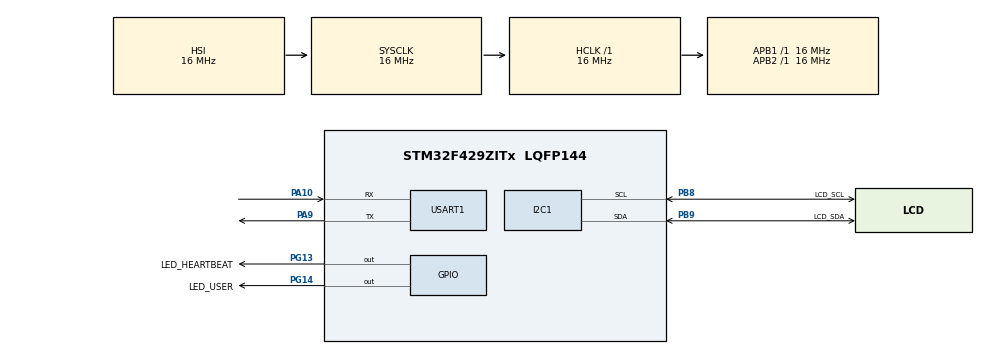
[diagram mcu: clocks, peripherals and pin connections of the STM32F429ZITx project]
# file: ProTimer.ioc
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Mcu.Family=STM32F4
Mcu.Name=STM32F429ZITx
Mcu.Package=LQFP144
NVIC.PriorityGroup=NVIC_PRIORITYGROUP_4
PA10.Mode=Asynchronous
PA10.Signal=USART1_RX
PA9.Mode=Asynchronous
PA9.Signal=USART1_TX
PB8.GPIO_Label=LCD_SCL
PB8.Mode=I2C
PB8.Signal=I2C1_SCL
PB9.GPIO_Label=LCD_SDA
PB9.Mode=I2C
PB9.Signal=I2C1_SDA
PG13.GPIO_Label=LED_HEARTBEAT
PG13.Signal=GPIO_Output
PG14.GPIO_Label=LED_USER
PG14.Signal=GPIO_Output
ProjectManager.HeapSize=0x200
ProjectManager.StackSize=0x400
ProjectManager.TargetToolchain=STM32CubeIDE
RCC.AHBFreq_Value=16000000
RCC.APB1Freq_Value=16000000
RCC.APB2Freq_Value=16000000
RCC.CortexFreq_Value=16000000
RCC.HSE_VALUE=25000000
RCC.HSI_VALUE=16000000
RCC.LSE_VALUE=32768
RCC.SYSCLKFreq_VALUE=16000000
RCC.VCOOutputFreq_Value=192000000
USART1.VirtualMode=VM_ASYNC
board=custom

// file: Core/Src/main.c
/* USER CODE BEGIN Header */
/**
  ******************************************************************************
  * @file           : main.c
  * @brief          : Main program body
  ******************************************************************************
  * @attention
  *
  * Copyright (c) 2025 STMicroelectronics.
  * All rights reserved.
  *
  * This software is licensed under terms that can be found in the LICENSE file
  * in the root directory of this software component.
  * If no LICENSE file comes with this software, it is provided AS-IS.
  *
  ******************************************************************************
  */
/* USER CODE END Header */
#include "main.h"

/* USER CODE BEGIN Includes */
#include "display.h"
#include "button_simulation.h"
#include "protimer.h"
#include "alarm_simulation.h"

/* USER CODE END Includes */

I2C_HandleTypeDef hi2c1;

UART_HandleTypeDef huart1;

/* USER CODE BEGIN PV */
static protimer_t protimer;

/* USER CODE END PV */

void SystemClock_Config(void);
static void MX_GPIO_Init(void);
static void MX_USART1_UART_Init(void);
static void MX_I2C1_Init(void);

/* USER CODE BEGIN 0 */

/**
 * @brief Retarget printf to UART1
*/
int _write(int file, char *ptr, int len) {
  HAL_UART_Transmit(&huart1, (uint8_t *) ptr, len, HAL_MAX_DELAY);
  return len;
}

/**
 * @brief User button event producer
 *
 * Polls the button interface and generates corresponding events for the
 * productivity timer state machine based on user button presses.
 *
 * @details Button to event mapping:
 *          - BUTTON_ID_PLUS       -> PROTIMER_SIGNAL_INC_TIME
 *          - BUTTON_ID_MINUS      -> PROTIMER_SIGNAL_DEC_TIME
 *          - BUTTON_ID_START_PAUSE -> PROTIMER_SIGNAL_START_PAUSE
 *          - BUTTON_ID_BOTH       -> PROTIMER_SIGNAL_ABORT
 *          - No button pressed    -> No event dispatched
 *
 * @note This function should be called periodically from the main loop
 */
static void user_event_producer(void) {
  button_id_t button_pressed = button_get_pressed();

  protimer_event_t user_event;

  if (button_pressed == BUTTON_ID_PLUS) {
    user_event.signal = PROTIMER_SIGNAL_INC_TIME;

  } else if (button_pressed == BUTTON_ID_MINUS) {
    user_event.signal = PROTIMER_SIGNAL_DEC_TIME;

  } else if (button_pressed == BUTTON_ID_START_PAUSE) {
    user_event.signal = PROTIMER_SIGNAL_START_PAUSE;

  } else if (button_pressed == BUTTON_ID_BOTH) {
    user_event.signal = PROTIMER_SIGNAL_ABORT;

  } else {
    return;
  }

  protimer_dispatcher(&protimer, &user_event);
}

/**
 * @brief Periodic time tick event producer
 *
 * Generates periodic TIME_TICK events every 100ms for the productivity timer
 * state machine. Uses HAL_GetTick() to track elapsed time and dispatch events
 * at regular intervals.
 *
 * @details The tick interval is 100ms, which provides the time base for:
 *          - Countdown updates
 *          - Idle state beep timing
 *          - Elapsed time tracking
 *
 * @note This function should be called continuously from the main loop
 * @note Uses static variables to maintain timing state between calls
 */
static void time_tick_event_producer(void) {
  static uint32_t current_tick = 100;
  static protimer_event_t tick_event = { .signal = PROTIMER_SIGNAL_TIME_TICK };

  if (HAL_GetTick() > current_tick) {
    current_tick = HAL_GetTick() + 100;
    protimer_dispatcher(&protimer, &tick_event);

  }
}

/* USER CODE END 0 */

int main(void)
{

  /* MCU Configuration--------------------------------------------------------*/

  /* Reset of all peripherals, Initializes the Flash interface and the Systick. */
  HAL_Init();

  /* Configure the system clock */
  SystemClock_Config();

  /* Initialize all configured peripherals */
  MX_GPIO_Init();
  MX_USART1_UART_Init();
  MX_I2C1_Init();
  /* USER CODE BEGIN 2 */
  display_init();
  protimer_init(&protimer);

  /* USER CODE END 2 */

  /* Infinite loop */
  /* USER CODE BEGIN WHILE */
  while (1)
  {
    alarm_task();
    user_event_producer();
    time_tick_event_producer();
    /* USER CODE END WHILE */

  }
}

void SystemClock_Config(void)
{
  RCC_OscInitTypeDef RCC_OscInitStruct = {0};
  RCC_ClkInitTypeDef RCC_ClkInitStruct = {0};

  /** Configure the main internal regulator output voltage
  */
  __HAL_RCC_PWR_CLK_ENABLE();
  __HAL_PWR_VOLTAGESCALING_CONFIG(PWR_REGULATOR_VOLTAGE_SCALE3);

  /** Initializes the RCC Oscillators according to the specified parameters
  * in the RCC_OscInitTypeDef structure.
  */
  RCC_OscInitStruct.OscillatorType = RCC_OSCILLATORTYPE_HSI;
  RCC_OscInitStruct.HSIState = RCC_HSI_ON;
  RCC_OscInitStruct.HSICalibrationValue = RCC_HSICALIBRATION_DEFAULT;
  RCC_OscInitStruct.PLL.PLLState = RCC_PLL_NONE;
  if (HAL_RCC_OscConfig(&RCC_OscInitStruct) != HAL_OK)
  {
    Error_Handler();
  }

  /** Initializes the CPU, AHB and APB buses clocks
  */
  RCC_ClkInitStruct.ClockType = RCC_CLOCKTYPE_HCLK|RCC_CLOCKTYPE_SYSCLK
                              |RCC_CLOCKTYPE_PCLK1|RCC_CLOCKTYPE_PCLK2;
  RCC_ClkInitStruct.SYSCLKSource = RCC_SYSCLKSOURCE_HSI;
  RCC_ClkInitStruct.AHBCLKDivider = RCC_SYSCLK_DIV1;
  RCC_ClkInitStruct.APB1CLKDivider = RCC_HCLK_DIV1;
  RCC_ClkInitStruct.APB2CLKDivider = RCC_HCLK_DIV1;

  if (HAL_RCC_ClockConfig(&RCC_ClkInitStruct, FLASH_LATENCY_0) != HAL_OK)
  {
    Error_Handler();
  }
}

static void MX_I2C1_Init(void)
{

  hi2c1.Instance = I2C1;
  hi2c1.Init.ClockSpeed = 100000;
  hi2c1.Init.DutyCycle = I2C_DUTYCYCLE_2;
  hi2c1.Init.OwnAddress1 = 0;
  hi2c1.Init.AddressingMode = I2C_ADDRESSINGMODE_7BIT;
  hi2c1.Init.DualAddressMode = I2C_DUALADDRESS_DISABLE;
  hi2c1.Init.OwnAddress2 = 0;
  hi2c1.Init.GeneralCallMode = I2C_GENERALCALL_DISABLE;
  hi2c1.Init.NoStretchMode = I2C_NOSTRETCH_DISABLE;
  if (HAL_I2C_Init(&hi2c1) != HAL_OK)
  {
    Error_Handler();
  }

  /** Configure Analogue filter
  */
  if (HAL_I2CEx_ConfigAnalogFilter(&hi2c1, I2C_ANALOGFILTER_ENABLE) != HAL_OK)
  {
    Error_Handler();
  }

  /** Configure Digital filter
  */
  if (HAL_I2CEx_ConfigDigitalFilter(&hi2c1, 0) != HAL_OK)
  {
    Error_Handler();
  }

}

static void MX_USART1_UART_Init(void)
{

  huart1.Instance = USART1;
  huart1.Init.BaudRate = 115200;
  huart1.Init.WordLength = UART_WORDLENGTH_8B;
  huart1.Init.StopBits = UART_STOPBITS_1;
  huart1.Init.Parity = UART_PARITY_NONE;
  huart1.Init.Mode = UART_MODE_TX_RX;
  huart1.Init.HwFlowCtl = UART_HWCONTROL_NONE;
  huart1.Init.OverSampling = UART_OVERSAMPLING_16;
  if (HAL_UART_Init(&huart1) != HAL_OK)
  {
    Error_Handler();
  }

}

static void MX_GPIO_Init(void)
{
  GPIO_InitTypeDef GPIO_InitStruct = {0};

  /* GPIO Ports Clock Enable */
  __HAL_RCC_GPIOA_CLK_ENABLE();
  __HAL_RCC_GPIOG_CLK_ENABLE();
  __HAL_RCC_GPIOB_CLK_ENABLE();

  /*Configure GPIO pin Output Level */
  HAL_GPIO_WritePin(GPIOG, LED_HEARTBEAT_Pin|LED_USER_Pin, GPIO_PIN_RESET);

  /*Configure GPIO pins : LED_HEARTBEAT_Pin LED_USER_Pin */
  GPIO_InitStruct.Pin = LED_HEARTBEAT_Pin|LED_USER_Pin;
  GPIO_InitStruct.Mode = GPIO_MODE_OUTPUT_PP;
  GPIO_InitStruct.Pull = GPIO_NOPULL;
  GPIO_InitStruct.Speed = GPIO_SPEED_FREQ_LOW;
  HAL_GPIO_Init(GPIOG, &GPIO_InitStruct);

}

void Error_Handler(void)
{
  __disable_irq();
  while (1)
  {
  }
}
